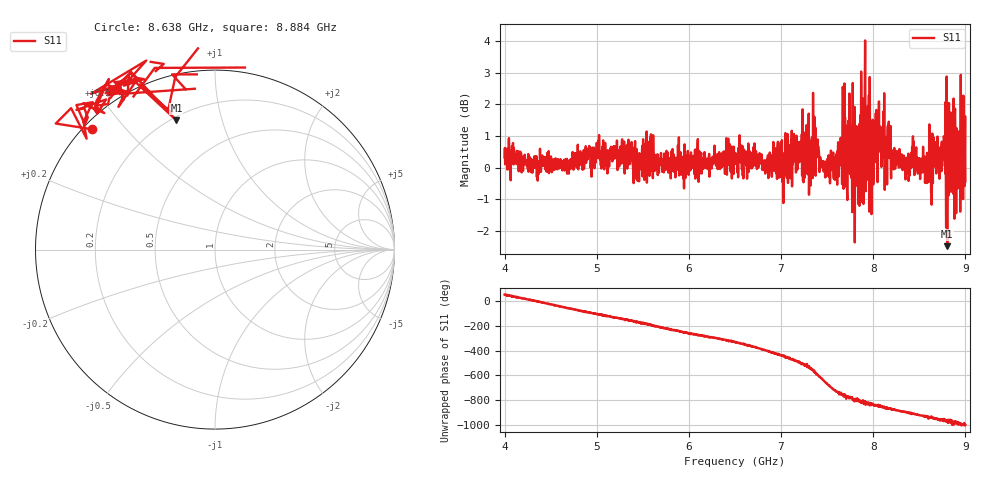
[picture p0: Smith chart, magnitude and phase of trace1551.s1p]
! Created with skrf 1.8.0 (http://scikit-rf.org).
# Hz S RI R 50.0
!freq ReS11 ImS11
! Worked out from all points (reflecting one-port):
!   1601 points, 4 GHz to 9 GHz, reference 50 ohm
!   lowest |S11| = -2.5 dB at 8.803 GHz (marker M1), VSWR 7.05, Z = 10.9 + j36.1 ohm
!   phase of S11 starts at 52 deg and turns -1052 deg over the sweep
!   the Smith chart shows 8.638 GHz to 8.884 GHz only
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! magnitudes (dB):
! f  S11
! 4 GHz  0.3
! 4.625 GHz  -0.1
! 5.25 GHz  0.2
! 5.875 GHz  0.1
! 6.5 GHz  0.2
! 7.038 GHz  0.0
! 7.125 GHz  0.1
! 7.284 GHz  0.8
! 7.328 GHz  -0.2
! 7.372 GHz  1.3
! 7.506 GHz  0.3
! 7.609 GHz  -0.5
! 7.669 GHz  2.5
! 7.7 GHz  0.0
! 7.75 GHz  -0.2
! 7.788 GHz  0.2
! 7.859 GHz  1.7
! 7.891 GHz  0.2
! 7.928 GHz  1.0
! 7.981 GHz  -1.5
! 8.097 GHz  0.8
! 8.375 GHz  0.1
! 8.441 GHz  0.2
! 8.581 GHz  -0.5
! 8.803 GHz  -2.5
! 8.919 GHz  -0.5
! 8.972 GHz  0.4
! 9 GHz  -0.4
